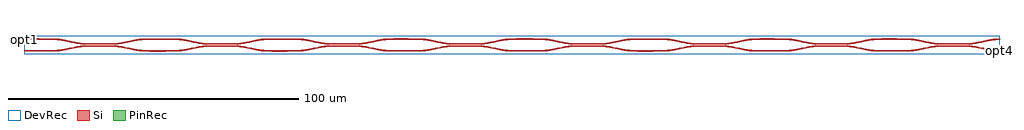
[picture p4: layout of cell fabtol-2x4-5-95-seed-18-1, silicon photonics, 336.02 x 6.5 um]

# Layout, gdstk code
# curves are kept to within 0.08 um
import gdstk
lib = gdstk.Library(unit=1e-6, precision=1e-09)
def R(c, l, rs):  # rectangles x0, y0, x1, y1
    for r in rs: c.add(gdstk.rectangle(r[:2], r[2:], *l))
def P(c, l, *ps):  # polygons
    for p in ps: c.add(gdstk.Polygon(p, *l))
Si = (1, 0)
PinRec = (1, 10)
DevRec = (68, 0)

layer_3_0_phase_sec_3_28 = lib.new_cell('layer-3_0_phase_sec_3$28')
P(layer_3_0_phase_sec_3_28, Si, [(5.999,-0.232),(0,-0.225),(0,0.225),(10,0.225),(10,-0.225)])

layer_3_0_phase_sec_2_28 = lib.new_cell('layer-3_0_phase_sec_2$28')
P(layer_3_0_phase_sec_2_28, Si, [(3.874,-0.247),(0,-0.225),(0,0.225),(10,0.225),(10,-0.225)])

layer_3_0_phase_sec_1_28 = lib.new_cell('layer-3_0_phase_sec_1$28')
P(layer_3_0_phase_sec_1_28, Si, [(3.698,-0.227),(0,-0.225),(0,0.225),(10,0.225),(10,-0.225)])

layer_3_0_phase_sec_0_28 = lib.new_cell('layer-3_0_phase_sec_0$28')
P(layer_3_0_phase_sec_0_28, Si, [(1.248,-0.25),(0,-0.225),(0,0.225),(10,0.225),(10,-0.225)])

layer_2_0_phase_sec_3_28 = lib.new_cell('layer-2_0_phase_sec_3$28')
P(layer_2_0_phase_sec_3_28, Si, [(2.65,-0.245),(0,-0.225),(0,0.225),(10,0.225),(10,-0.225)])

layer_0_0_phase_sec_2_28 = lib.new_cell('layer-0_0_phase_sec_2$28')
P(layer_0_0_phase_sec_2_28, Si, [(2.747,-0.233),(0,-0.225),(0,0.225),(10,0.225),(10,-0.225)])

layer_0_0_phase_sec_3_28 = lib.new_cell('layer-0_0_phase_sec_3$28')
P(layer_0_0_phase_sec_3_28, Si, [(2.688,-0.246),(0,-0.225),(0,0.225),(10,0.225),(10,-0.225)])

layer_1_0_phase_sec_0_28 = lib.new_cell('layer-1_0_phase_sec_0$28')
P(layer_1_0_phase_sec_0_28, Si, [(2.082,-0.237),(0,-0.225),(0,0.225),(10,0.225),(10,-0.225)])

layer_1_0_phase_sec_1_28 = lib.new_cell('layer-1_0_phase_sec_1$28')
P(layer_1_0_phase_sec_1_28, Si, [(2.654,-0.24),(0,-0.225),(0,0.225),(10,0.225),(10,-0.225)])

layer_1_0_phase_sec_2_28 = lib.new_cell('layer-1_0_phase_sec_2$28')
P(layer_1_0_phase_sec_2_28, Si, [(1.247,-0.242),(0,-0.225),(0,0.225),(10,0.225),(10,-0.225)])

layer_1_0_phase_sec_3_28 = lib.new_cell('layer-1_0_phase_sec_3$28')
P(layer_1_0_phase_sec_3_28, Si, [(1.229,-0.235),(0,-0.225),(0,0.225),(10,0.225),(10,-0.225)])

layer_0_0_phase_sec_0_28 = lib.new_cell('layer-0_0_phase_sec_0$28')
P(layer_0_0_phase_sec_0_28, Si, [(3.947,-0.241),(0,-0.225),(0,0.225),(10,0.225),(10,-0.225)])

layer_2_0_phase_sec_0_28 = lib.new_cell('layer-2_0_phase_sec_0$28')
P(layer_2_0_phase_sec_0_28, Si, [(2.9,-0.25),(0,-0.225),(0,0.225),(10,0.225),(10,-0.225)])

layer_0_0_phase_sec_1_28 = lib.new_cell('layer-0_0_phase_sec_1$28')
P(layer_0_0_phase_sec_1_28, Si, [(3.16,-0.227),(0,-0.225),(0,0.225),(10,0.225),(10,-0.225)])

layer_2_0_phase_sec_1_28 = lib.new_cell('layer-2_0_phase_sec_1$28')
P(layer_2_0_phase_sec_1_28, Si, [(1.527,-0.231),(0,-0.225),(0,0.225),(10,0.225),(10,-0.225)])

dc_arm_down_28 = lib.new_cell('dc_arm_down$28')
R(dc_arm_down_28, Si, [(12,-0.55,20,-0.1)])
P(dc_arm_down_28, Si, [(32,-2.225),(30.861,-2.188),(29.344,-2.033),(22.966,-0.793),(21.481,-0.613),(20,-0.55),(20,-0.1),(21.139,-0.137),(22.656,-0.292),(29.034,-1.532),(30.519,-1.712),(32,-1.775)],
  [(0,-2.225),(0,-1.775),(1.481,-1.712),(2.966,-1.532),(9.344,-0.292),(10.861,-0.137),(12,-0.1),(12,-0.55),(10.519,-0.613),(9.034,-0.793),(2.656,-2.033),(1.139,-2.188)])

dc_arm_up_28 = lib.new_cell('dc_arm_up$28')
R(dc_arm_up_28, Si, [(12,0.1,20,0.55)])
P(dc_arm_up_28, Si, [(20,0.1),(20,0.55),(21.481,0.613),(22.966,0.793),(29.344,2.033),(30.861,2.188),(32,2.225),(32,1.775),(30.519,1.712),(29.034,1.532),(22.656,0.292),(21.139,0.137)],
  [(12,0.1),(10.861,0.137),(9.344,0.292),(2.966,1.532),(1.481,1.712),(0,1.775),(0,2.225),(1.139,2.188),(2.656,2.033),(9.034,0.793),(10.519,0.613),(12,0.55)])

dc_28 = lib.new_cell('dc$28')
dc_28.add(gdstk.Reference(dc_arm_down_28, (0,0)))
dc_28.add(gdstk.Reference(dc_arm_up_28, (0,0)))

layer_2_0_phase_sec_2_28 = lib.new_cell('layer-2_0_phase_sec_2$28')
P(layer_2_0_phase_sec_2_28, Si, [(1.564,-0.234),(0,-0.225),(0,0.225),(10,0.225),(10,-0.225)])

fabtol_2x4_5_95_seed_18_ = lib.new_cell('fabtol-2x4-5-95-seed-18-1')
R(fabtol_2x4_5_95_seed_18_, DevRec, [(0,-1,336,5.496)])
fabtol_2x4_5_95_seed_18_.add(gdstk.FlexPath([(335.99,0.246),(336.01,0.246)], 0.45, ends="flush", simple_path=True, layer=1, datatype=10))  # PinRec
fabtol_2x4_5_95_seed_18_.add(gdstk.FlexPath([(335.99,4.246),(336.01,4.246)], 0.45, ends="flush", simple_path=True, layer=1, datatype=10))  # PinRec
fabtol_2x4_5_95_seed_18_.add(gdstk.FlexPath([(0.01,4.246),(-0.01,4.246)], 0.45, ends="flush", simple_path=True, layer=1, datatype=10))  # PinRec
fabtol_2x4_5_95_seed_18_.add(gdstk.Reference(layer_3_0_phase_sec_3_28, (294,0.246)))
fabtol_2x4_5_95_seed_18_.add(gdstk.Reference(layer_3_0_phase_sec_2_28, (294,4.246)))
fabtol_2x4_5_95_seed_18_.add(gdstk.Reference(layer_3_0_phase_sec_1_28, (252,0.246)))
fabtol_2x4_5_95_seed_18_.add(gdstk.Reference(layer_3_0_phase_sec_0_28, (252,4.246)))
fabtol_2x4_5_95_seed_18_.add(gdstk.Reference(layer_2_0_phase_sec_3_28, (210,0.246)))
fabtol_2x4_5_95_seed_18_.add(gdstk.Reference(layer_0_0_phase_sec_2_28, (42,4.246)))
fabtol_2x4_5_95_seed_18_.add(gdstk.Reference(layer_0_0_phase_sec_3_28, (42,0.246)))
fabtol_2x4_5_95_seed_18_.add(gdstk.Reference(layer_1_0_phase_sec_0_28, (84,4.246)))
fabtol_2x4_5_95_seed_18_.add(gdstk.Reference(layer_1_0_phase_sec_1_28, (84,0.246)))
fabtol_2x4_5_95_seed_18_.add(gdstk.Reference(layer_1_0_phase_sec_2_28, (126,4.246)))
fabtol_2x4_5_95_seed_18_.add(gdstk.Reference(layer_1_0_phase_sec_3_28, (126,0.246)))
fabtol_2x4_5_95_seed_18_.add(gdstk.Reference(layer_0_0_phase_sec_0_28, (0,4.246)))
fabtol_2x4_5_95_seed_18_.add(gdstk.Reference(layer_2_0_phase_sec_0_28, (168,4.246)))
fabtol_2x4_5_95_seed_18_.add(gdstk.Reference(layer_0_0_phase_sec_1_28, (0,0.246)))
fabtol_2x4_5_95_seed_18_.add(gdstk.Reference(layer_2_0_phase_sec_1_28, (168,0.246)))
fabtol_2x4_5_95_seed_18_.add(gdstk.Reference(dc_28, (10,2.246)))
fabtol_2x4_5_95_seed_18_.add(gdstk.Reference(dc_28, (52,2.246)))
fabtol_2x4_5_95_seed_18_.add(gdstk.Reference(dc_28, (94,2.246)))
fabtol_2x4_5_95_seed_18_.add(gdstk.Reference(dc_28, (136,2.246)))
fabtol_2x4_5_95_seed_18_.add(gdstk.Reference(dc_28, (178,2.246)))
fabtol_2x4_5_95_seed_18_.add(gdstk.Reference(dc_28, (220,2.246)))
fabtol_2x4_5_95_seed_18_.add(gdstk.Reference(dc_28, (262,2.246)))
fabtol_2x4_5_95_seed_18_.add(gdstk.Reference(dc_28, (304,2.246)))
fabtol_2x4_5_95_seed_18_.add(gdstk.Reference(layer_2_0_phase_sec_2_28, (210,4.246)))
fabtol_2x4_5_95_seed_18_.add(gdstk.Label('opt4', (336,0.246), layer=1, texttype=10))
fabtol_2x4_5_95_seed_18_.add(gdstk.Label('opt3', (336,4.246), layer=1, texttype=10))
fabtol_2x4_5_95_seed_18_.add(gdstk.Label('opt1', (0,4.246), layer=1, texttype=10))

lib.write_gds('fabtol-2x4-5-95-seed-18-1.gds')
